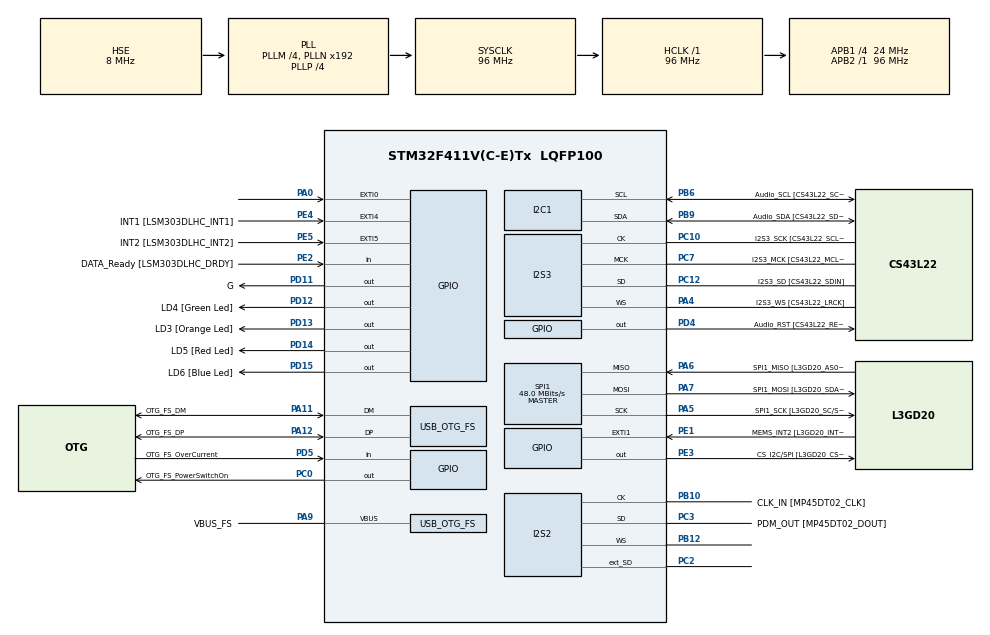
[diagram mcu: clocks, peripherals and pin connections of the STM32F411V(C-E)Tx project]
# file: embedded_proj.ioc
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I2S2.AudioFreq=I2S_AUDIOFREQ_96K
I2S2.ErrorAudioFreq=0.15 %
I2S2.FullDuplexMode=I2S_FULLDUPLEXMODE_ENABLE
I2S2.Instance=SPI$Index
I2S2.RealAudioFreq=96.153 KHz
I2S2.VirtualMode=I2S_MODE_MASTER
I2S3.AudioFreq=I2S_AUDIOFREQ_96K
I2S3.ErrorAudioFreq=-6.99 %
I2S3.FullDuplexMode=I2S_FULLDUPLEXMODE_DISABLE
I2S3.Instance=SPI$Index
I2S3.RealAudioFreq=89.285 KHz
I2S3.VirtualMode=I2S_MODE_MASTER
Mcu.Family=STM32F4
Mcu.Name=STM32F411V(C-E)Tx
Mcu.Package=LQFP100
NVIC.OTG_FS_IRQn=true\:0\:0\:false\:false\:true\:true\:true\:true
NVIC.PriorityGroup=NVIC_PRIORITYGROUP_0
PA0-WKUP.GPIO_ModeDefaultEXTI=GPIO_MODE_EVT_RISING
PA0-WKUP.Signal=GPXTI0
PA10.GPIO_Label=OTG_FS_ID
PA10.Signal=USB_OTG_FS_ID
PA11.GPIO_Label=OTG_FS_DM
PA11.Mode=Host_Only
PA11.Signal=USB_OTG_FS_DM
PA12.GPIO_Label=OTG_FS_DP
PA12.Mode=Host_Only
PA12.Signal=USB_OTG_FS_DP
PA13.GPIO_Label=SWDIO
PA13.Mode=Serial_Wire
PA13.Signal=SYS_JTMS-SWDIO
PA14.GPIO_Label=SWCLK
PA14.Mode=Serial_Wire
PA14.Signal=SYS_JTCK-SWCLK
PA4.GPIO_Label=I2S3_WS [CS43L22_LRCK]
PA4.GPIO_Mode=GPIO_MODE_AF_PP
PA4.GPIO_PuPd=GPIO_NOPULL
PA4.GPIO_Speed=GPIO_SPEED_FREQ_LOW
PA4.Mode=Half_Duplex_Master
PA4.Signal=I2S3_WS
PA5.GPIO_Label=SPI1_SCK [L3GD20_SC/SPC]
PA5.Mode=Full_Duplex_Master
PA5.Signal=SPI1_SCK
PA6.GPIO_Label=SPI1_MISO [L3GD20_AS0/SDO]
PA6.Mode=Full_Duplex_Master
PA6.Signal=SPI1_MISO
PA7.GPIO_Label=SPI1_MOSI [L3GD20_SDA/SDI/SDO]
PA7.Mode=Full_Duplex_Master
PA7.Signal=SPI1_MOSI
PA9.GPIO_Label=VBUS_FS
PA9.Mode=Activate_VBUS
PA9.Signal=USB_OTG_FS_VBUS
PB10.GPIO_Label=CLK_IN [MP45DT02_CLK]
PB10.Mode=Full_Duplex_Master
PB10.Signal=I2S2_CK
PB12.Mode=Full_Duplex_Master
PB12.Signal=I2S2_WS
PB3.GPIO_Label=SWO
PB3.Signal=SYS_JTDO-SWO
PB6.GPIO_Label=Audio_SCL [CS43L22_SCL]
PB6.GPIO_Mode=GPIO_MODE_AF_OD
PB6.GPIO_Pu=GPIO_PULLUP
PB6.GPIO_PuPd=GPIO_NOPULL
PB6.GPIO_Speed=GPIO_SPEED_FREQ_LOW
PB6.Mode=I2C
PB6.Signal=I2C1_SCL
PB9.GPIO_Label=Audio_SDA [CS43L22_SDA]
PB9.GPIO_Mode=GPIO_MODE_AF_OD
PB9.GPIO_Pu=GPIO_PULLUP
PB9.GPIO_PuPd=GPIO_NOPULL
PB9.GPIO_Speed=GPIO_SPEED_FREQ_LOW
PB9.Mode=I2C
PB9.Signal=I2C1_SDA
PC0.GPIO_Label=OTG_FS_PowerSwitchOn
PC0.PinState=GPIO_PIN_SET
PC0.Signal=GPIO_Output
PC10.GPIO_Label=I2S3_SCK [CS43L22_SCLK]
PC10.GPIO_Mode=GPIO_MODE_AF_PP
PC10.GPIO_PuPd=GPIO_NOPULL
PC10.GPIO_Speed=GPIO_SPEED_FREQ_LOW
PC10.Mode=Half_Duplex_Master
PC10.Signal=I2S3_CK
PC12.GPIO_Label=I2S3_SD [CS43L22_SDIN]
PC12.GPIO_Mode=GPIO_MODE_AF_PP
PC12.GPIO_PuPd=GPIO_NOPULL
PC12.GPIO_Speed=GPIO_SPEED_FREQ_LOW
PC12.Mode=Half_Duplex_Master
PC12.Signal=I2S3_SD
PC14-OSC32_IN.GPIO_Label=PC14-OSC32_IN
PC14-OSC32_IN.Mode=LSE-External-Oscillator
PC14-OSC32_IN.Signal=RCC_OSC32_IN
PC15-OSC32_OUT.GPIO_Label=PC15-OSC32_OUT
PC15-OSC32_OUT.Mode=LSE-External-Oscillator
PC15-OSC32_OUT.Signal=RCC_OSC32_OUT
PC2.Mode=Full_Duplex_Master
PC2.Signal=I2S2_ext_SD
PC3.GPIO_Label=PDM_OUT [MP45DT02_DOUT]
PC3.Mode=Full_Duplex_Master
PC3.Signal=I2S2_SD
PC7.GPIO_Label=I2S3_MCK [CS43L22_MCLK]
PC7.GPIO_Mode=GPIO_MODE_AF_PP
PC7.GPIO_PuPd=GPIO_NOPULL
PC7.GPIO_Speed=GPIO_SPEED_FREQ_LOW
PC7.Mode=Master_Clock_Activated
PC7.Signal=I2S3_MCK
PD11.GPIO_Label=G
PD11.Signal=GPIO_Output
PD12.GPIO_Label=LD4 [Green Led]
PD12.GPIO_PuPd=GPIO_NOPULL
PD12.GPIO_Speed=GPIO_SPEED_FREQ_LOW
PD12.Signal=GPIO_Output
PD13.GPIO_Label=LD3 [Orange Led]
PD13.GPIO_PuPd=GPIO_NOPULL
PD13.GPIO_Speed=GPIO_SPEED_FREQ_LOW
PD13.Signal=GPIO_Output
PD14.GPIO_Label=LD5 [Red Led]
PD14.GPIO_PuPd=GPIO_NOPULL
PD14.GPIO_Speed=GPIO_SPEED_FREQ_LOW
PD14.Signal=GPIO_Output
PD15.GPIO_Label=LD6 [Blue Led]
PD15.GPIO_PuPd=GPIO_NOPULL
PD15.GPIO_Speed=GPIO_SPEED_FREQ_LOW
PD15.Signal=GPIO_Output
PD4.GPIO_Label=Audio_RST [CS43L22_RESET]
PD4.Signal=GPIO_Output
PD5.GPIO_Label=OTG_FS_OverCurrent
PD5.Signal=GPIO_Input
PE1.GPIO_Label=MEMS_INT2 [L3GD20_INT2]
PE1.GPIO_ModeDefaultEXTI=GPIO_MODE_EVT_RISING
PE1.Signal=GPXTI1
PE2.GPIO_Label=DATA_Ready [LSM303DLHC_DRDY]
PE2.Signal=GPIO_Input
PE3.GPIO_Label=CS_I2C/SPI [L3GD20_CS_I2C/SPI]
PE3.Signal=GPIO_Output
PE4.GPIO_Label=INT1 [LSM303DLHC_INT1]
PE4.GPIO_ModeDefaultEXTI=GPIO_MODE_EVT_RISING
PE4.Signal=GPXTI4
PE5.GPIO_Label=INT2 [LSM303DLHC_INT2]
PE5.GPIO_ModeDefaultEXTI=GPIO_MODE_EVT_RISING
PE5.Signal=GPXTI5
PH0\ -\ OSC_IN.GPIO_Label=PH0-OSC_IN
PH0\ -\ OSC_IN.Mode=HSE-External-Clock-Source
PH0\ -\ OSC_IN.Signal=RCC_OSC_IN
PH1\ -\ OSC_OUT.GPIO_Label=PH1-OSC_OUT
PH1\ -\ OSC_OUT.Mode=HSE-External-Clock-Source
PH1\ -\ OSC_OUT.Signal=RCC_OSC_OUT
ProjectManager.HeapSize=0x200
ProjectManager.StackSize=0x400
ProjectManager.TargetToolchain=STM32CubeIDE
RCC.48MHZClocksFreq_Value=48000000
RCC.AHBFreq_Value=96000000
RCC.APB1CLKDivider=RCC_HCLK_DIV4
RCC.APB1Freq_Value=24000000
RCC.APB1TimFreq_Value=48000000
RCC.APB2Freq_Value=96000000
RCC.APB2TimFreq_Value=96000000
RCC.CortexFreq_Value=96000000
RCC.HCLKFreq_Value=96000000
RCC.HSE_VALUE=8000000
RCC.HSI_VALUE=16000000
RCC.PLLI2SM=5
RCC.PLLI2SN=200
RCC.PLLM=4
RCC.PLLP=RCC_PLLP_DIV4
RCC.PLLQ=8
RCC.SYSCLKFreq_VALUE=96000000
RCC.SYSCLKSource=RCC_SYSCLKSOURCE_PLLCLK
RCC.VCOOutputFreq_Value=384000000
SPI1.BaudRatePrescaler=SPI_BAUDRATEPRESCALER_2
SPI1.CalculateBaudRate=48.0 MBits/s
SPI1.Direction=SPI_DIRECTION_2LINES
SPI1.Mode=SPI_MODE_MASTER
SPI1.VirtualType=VM_MASTER
USB_HOST.BSP.number=1
USB_HOST.USBH_HandleTypeDef=hUsbHostFS
USB_HOST.VirtualModeFS=Cdc
USB_HOST0.BSP.STBoard=false
USB_HOST0.BSP.api=Unknown
USB_HOST0.BSP.instance=PC0
USB_HOST0.BSP.ip=GPIO
USB_HOST0.BSP.mode=Output
USB_HOST0.BSP.name=Drive_VBUS_FS
USB_HOST0.BSP.solution=PC0
USB_OTG_FS.VirtualMode=Host_Only
USB_OTG_FS.phy_itface=HCD_PHY_EMBEDDED
VP_USB_HOST_VS_USB_HOST_CDC_FS.Mode=CDC_FS
board=STM32F411E-DISCO

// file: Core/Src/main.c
/* USER CODE BEGIN Header */
/**
 ******************************************************************************
 * @file           : main.c
 * @brief          : Main program body
 ******************************************************************************
 * @attention
 *
 * Copyright (c) 2022 STMicroelectronics.
 * All rights reserved.
 *
 * This software is licensed under terms that can be found in the LICENSE file
 * in the root directory of this software component.
 * If no LICENSE file comes with this software, it is provided AS-IS.
 *
 ******************************************************************************
 */
/* USER CODE END Header */
#include "main.h"
#include "usb_host.h"

I2C_HandleTypeDef hi2c1;

I2S_HandleTypeDef hi2s2;
I2S_HandleTypeDef hi2s3;

SPI_HandleTypeDef hspi1;

void SystemClock_Config(void);
void PeriphCommonClock_Config(void);
static void MX_GPIO_Init(void);
static void MX_I2C1_Init(void);
static void MX_I2S2_Init(void);
static void MX_I2S3_Init(void);
static void MX_SPI1_Init(void);
void MX_USB_HOST_Process(void);

/* USER CODE BEGIN 0 */

double x_position=0;
double y_position=0;
double z_position=0;
double magnitude=0;
double change_in_magnitude=0;
double last_magnitude = 0;
int steps_counter=-1;
int pedometer_threshold=1000;
int16_t accelVals[3];

/* USER CODE END 0 */

int main(void)
{

  /* MCU Configuration--------------------------------------------------------*/

  /* Reset of all peripherals, Initializes the Flash interface and the Systick. */
  HAL_Init();

  /* Configure the system clock */
//  SystemClock_Config();

/* Configure the peripherals common clocks */
  PeriphCommonClock_Config();

  /* Initialize all configured peripherals */
  MX_GPIO_Init();
  MX_I2C1_Init();
  MX_I2S2_Init();
  MX_I2S3_Init();
  MX_SPI1_Init();
  MX_USB_HOST_Init();
  /* USER CODE BEGIN 2 */

  /* Read Acceleration*/
        BSP_ACCELERO_GetXYZ(Buffer);

        /* Set X and Y positions */
        X_Offset = Buffer[0];
        Y_Offset = Buffer[1];

        /* Update New autoreload value in case of X or Y acceleration*/
        /* Basic acceleration X_Offset and Y_Offset are divide by 40 to fir with ARR range */
        NewARR_X = TIM_ARR - ABS(X_Offset/40);
        NewARR_Y = TIM_ARR - ABS(Y_Offset/40);

        /* Calculation of Max acceleration detected on X or Y axis */
        Temp_X = ABS(X_Offset/40);
        Temp_Y = ABS(Y_Offset/40);
        MaxAcceleration = MAX_AB(Temp_X, Temp_Y);

        if(MaxAcceleration != 0)
        {

          /* Reset CNT to a lowest value (equal to min CCRx of all Channels) */
          __HAL_TIM_SET_COUNTER(&htim4,(TIM_ARR-MaxAcceleration)/2);

          if (X_Offset < ThreadholdAcceleroLow)
          {

            /* Sets the TIM4 Capture Compare for Channel1 Register value */
            /* Equal to NewARR_X/2 to have duty cycle equal to 50% */
            __HAL_TIM_SET_COMPARE(&htim4, TIM_CHANNEL_1, NewARR_X/2);

            /* Time base configuration */
            __HAL_TIM_SET_AUTORELOAD(&htim4, NewARR_X);

            /* Enable TIM4 Capture Compare Channel1 */
            HAL_TIM_PWM_Start(&htim4, TIM_CHANNEL_1);

          }
          else if (X_Offset > ThreadholdAcceleroHigh)
          {

            /* Sets the TIM4 Capture Compare for Channel3 Register value */
            /* Equal to NewARR_X/2 to have duty cycle equal to 50% */
            __HAL_TIM_SET_COMPARE(&htim4, TIM_CHANNEL_3, NewARR_X/2);

            /* Time base configuration */
            __HAL_TIM_SET_AUTORELOAD(&htim4, NewARR_X);

            /* Enable TIM4 Capture Compare Channel3 */
            HAL_TIM_PWM_Start(&htim4, TIM_CHANNEL_3);

          }
          if (Y_Offset > ThreadholdAcceleroHigh)
          {

            /* Sets the TIM4 Capture Compare for Channel4 Register value */
            /* Equal to NewARR_Y/2 to have duty cycle equal to 50% */
            __HAL_TIM_SET_COMPARE(&htim4, TIM_CHANNEL_4,NewARR_Y/2);

            /* Time base configuration */
            __HAL_TIM_SET_AUTORELOAD(&htim4, NewARR_Y);

            /* Enable TIM4 Capture Compare Channel4 */
            HAL_TIM_PWM_Start(&htim4, TIM_CHANNEL_4);

          }
          else if (Y_Offset < ThreadholdAcceleroLow)
          {

            /* Sets the TIM4 Capture Compare for Channel2 Register value */
            /* Equal to NewARR_Y/2 to have duty cycle equal to 50% */
            __HAL_TIM_SET_COMPARE(&htim4, TIM_CHANNEL_2, NewARR_Y/2);

            /* Time base configuration */
            __HAL_TIM_SET_AUTORELOAD(&htim4, NewARR_Y);

            /* Enable TIM4 Capture Compare Channel2 */
            HAL_TIM_PWM_Start(&htim4, TIM_CHANNEL_2);

          }
        }
        Counter = 0x00;

  /* USER CODE END 2 */

  /* Infinite loop */
	while (1) {
    MX_USB_HOST_Process();

	}
}

void SystemClock_Config(void)
{
  RCC_OscInitTypeDef RCC_OscInitStruct = {0};
  RCC_ClkInitTypeDef RCC_ClkInitStruct = {0};

  /** Configure the main internal regulator output voltage
  */
  __HAL_RCC_PWR_CLK_ENABLE();
  __HAL_PWR_VOLTAGESCALING_CONFIG(PWR_REGULATOR_VOLTAGE_SCALE1);

  /** Initializes the RCC Oscillators according to the specified parameters
  * in the RCC_OscInitTypeDef structure.
  */
  RCC_OscInitStruct.OscillatorType = RCC_OSCILLATORTYPE_HSE;
  RCC_OscInitStruct.HSEState = RCC_HSE_BYPASS;
  RCC_OscInitStruct.PLL.PLLState = RCC_PLL_ON;
  RCC_OscInitStruct.PLL.PLLSource = RCC_PLLSOURCE_HSE;
  RCC_OscInitStruct.PLL.PLLM = 4;
  RCC_OscInitStruct.PLL.PLLN = 192;
  RCC_OscInitStruct.PLL.PLLP = RCC_PLLP_DIV4;
  RCC_OscInitStruct.PLL.PLLQ = 8;
  if (HAL_RCC_OscConfig(&RCC_OscInitStruct) != HAL_OK)
  {
    Error_Handler();
  }

  /** Initializes the CPU, AHB and APB buses clocks
  */
  RCC_ClkInitStruct.ClockType = RCC_CLOCKTYPE_HCLK|RCC_CLOCKTYPE_SYSCLK
                              |RCC_CLOCKTYPE_PCLK1|RCC_CLOCKTYPE_PCLK2;
  RCC_ClkInitStruct.SYSCLKSource = RCC_SYSCLKSOURCE_PLLCLK;
  RCC_ClkInitStruct.AHBCLKDivider = RCC_SYSCLK_DIV1;
  RCC_ClkInitStruct.APB1CLKDivider = RCC_HCLK_DIV4;
  RCC_ClkInitStruct.APB2CLKDivider = RCC_HCLK_DIV1;

  if (HAL_RCC_ClockConfig(&RCC_ClkInitStruct, FLASH_LATENCY_3) != HAL_OK)
  {
    Error_Handler();
  }
}

void PeriphCommonClock_Config(void)
{
  RCC_PeriphCLKInitTypeDef PeriphClkInitStruct = {0};

  /** Initializes the peripherals clock
  */
  PeriphClkInitStruct.PeriphClockSelection = RCC_PERIPHCLK_I2S;
  PeriphClkInitStruct.PLLI2S.PLLI2SN = 200;
  PeriphClkInitStruct.PLLI2S.PLLI2SM = 5;
  PeriphClkInitStruct.PLLI2S.PLLI2SR = 2;
  if (HAL_RCCEx_PeriphCLKConfig(&PeriphClkInitStruct) != HAL_OK)
  {
    Error_Handler();
  }
}

static void MX_I2C1_Init(void)
{

  hi2c1.Instance = I2C1;
  hi2c1.Init.ClockSpeed = 100000;
  hi2c1.Init.DutyCycle = I2C_DUTYCYCLE_2;
  hi2c1.Init.OwnAddress1 = 0;
  hi2c1.Init.AddressingMode = I2C_ADDRESSINGMODE_7BIT;
  hi2c1.Init.DualAddressMode = I2C_DUALADDRESS_DISABLE;
  hi2c1.Init.OwnAddress2 = 0;
  hi2c1.Init.GeneralCallMode = I2C_GENERALCALL_DISABLE;
  hi2c1.Init.NoStretchMode = I2C_NOSTRETCH_DISABLE;
  if (HAL_I2C_Init(&hi2c1) != HAL_OK)
  {
    Error_Handler();
  }

}

static void MX_I2S2_Init(void)
{

  hi2s2.Instance = SPI2;
  hi2s2.Init.Mode = I2S_MODE_MASTER_TX;
  hi2s2.Init.Standard = I2S_STANDARD_PHILIPS;
  hi2s2.Init.DataFormat = I2S_DATAFORMAT_16B;
  hi2s2.Init.MCLKOutput = I2S_MCLKOUTPUT_DISABLE;
  hi2s2.Init.AudioFreq = I2S_AUDIOFREQ_96K;
  hi2s2.Init.CPOL = I2S_CPOL_LOW;
  hi2s2.Init.ClockSource = I2S_CLOCK_PLL;
  hi2s2.Init.FullDuplexMode = I2S_FULLDUPLEXMODE_ENABLE;
  if (HAL_I2S_Init(&hi2s2) != HAL_OK)
  {
    Error_Handler();
  }

}

static void MX_I2S3_Init(void)
{

  hi2s3.Instance = SPI3;
  hi2s3.Init.Mode = I2S_MODE_MASTER_TX;
  hi2s3.Init.Standard = I2S_STANDARD_PHILIPS;
  hi2s3.Init.DataFormat = I2S_DATAFORMAT_16B;
  hi2s3.Init.MCLKOutput = I2S_MCLKOUTPUT_ENABLE;
  hi2s3.Init.AudioFreq = I2S_AUDIOFREQ_96K;
  hi2s3.Init.CPOL = I2S_CPOL_LOW;
  hi2s3.Init.ClockSource = I2S_CLOCK_PLL;
  hi2s3.Init.FullDuplexMode = I2S_FULLDUPLEXMODE_DISABLE;
  if (HAL_I2S_Init(&hi2s3) != HAL_OK)
  {
    Error_Handler();
  }

}

static void MX_SPI1_Init(void)
{

  /* SPI1 parameter configuration*/
  hspi1.Instance = SPI1;
  hspi1.Init.Mode = SPI_MODE_MASTER;
  hspi1.Init.Direction = SPI_DIRECTION_2LINES;
  hspi1.Init.DataSize = SPI_DATASIZE_8BIT;
  hspi1.Init.CLKPolarity = SPI_POLARITY_LOW;
  hspi1.Init.CLKPhase = SPI_PHASE_1EDGE;
  hspi1.Init.NSS = SPI_NSS_SOFT;
  hspi1.Init.BaudRatePrescaler = SPI_BAUDRATEPRESCALER_2;
  hspi1.Init.FirstBit = SPI_FIRSTBIT_MSB;
  hspi1.Init.TIMode = SPI_TIMODE_DISABLE;
  hspi1.Init.CRCCalculation = SPI_CRCCALCULATION_DISABLE;
  hspi1.Init.CRCPolynomial = 10;
  if (HAL_SPI_Init(&hspi1) != HAL_OK)
  {
    Error_Handler();
  }

}

static void MX_GPIO_Init(void)
{
  GPIO_InitTypeDef GPIO_InitStruct = {0};

  /* GPIO Ports Clock Enable */
  __HAL_RCC_GPIOE_CLK_ENABLE();
  __HAL_RCC_GPIOC_CLK_ENABLE();
  __HAL_RCC_GPIOH_CLK_ENABLE();
  __HAL_RCC_GPIOA_CLK_ENABLE();
  __HAL_RCC_GPIOB_CLK_ENABLE();
  __HAL_RCC_GPIOD_CLK_ENABLE();

  /*Configure GPIO pin Output Level */
  HAL_GPIO_WritePin(CS_I2C_SPI_GPIO_Port, CS_I2C_SPI_Pin, GPIO_PIN_RESET);

  /*Configure GPIO pin Output Level */
  HAL_GPIO_WritePin(OTG_FS_PowerSwitchOn_GPIO_Port, OTG_FS_PowerSwitchOn_Pin, GPIO_PIN_SET);

  /*Configure GPIO pin Output Level */
  HAL_GPIO_WritePin(GPIOD, G_Pin|LD4_Pin|LD3_Pin|LD5_Pin
                          |LD6_Pin|Audio_RST_Pin, GPIO_PIN_RESET);

  /*Configure GPIO pin : DATA_Ready_Pin */
  GPIO_InitStruct.Pin = DATA_Ready_Pin;
  GPIO_InitStruct.Mode = GPIO_MODE_INPUT;
  GPIO_InitStruct.Pull = GPIO_NOPULL;
  HAL_GPIO_Init(DATA_Ready_GPIO_Port, &GPIO_InitStruct);

  /*Configure GPIO pin : CS_I2C_SPI_Pin */
  GPIO_InitStruct.Pin = CS_I2C_SPI_Pin;
  GPIO_InitStruct.Mode = GPIO_MODE_OUTPUT_PP;
  GPIO_InitStruct.Pull = GPIO_NOPULL;
  GPIO_InitStruct.Speed = GPIO_SPEED_FREQ_LOW;
  HAL_GPIO_Init(CS_I2C_SPI_GPIO_Port, &GPIO_InitStruct);

  /*Configure GPIO pins : INT1_Pin INT2_Pin MEMS_INT2_Pin */
  GPIO_InitStruct.Pin = INT1_Pin|INT2_Pin|MEMS_INT2_Pin;
  GPIO_InitStruct.Mode = GPIO_MODE_EVT_RISING;
  GPIO_InitStruct.Pull = GPIO_NOPULL;
  HAL_GPIO_Init(GPIOE, &GPIO_InitStruct);

  /*Configure GPIO pin : OTG_FS_PowerSwitchOn_Pin */
  GPIO_InitStruct.Pin = OTG_FS_PowerSwitchOn_Pin;
  GPIO_InitStruct.Mode = GPIO_MODE_OUTPUT_PP;
  GPIO_InitStruct.Pull = GPIO_NOPULL;
  GPIO_InitStruct.Speed = GPIO_SPEED_FREQ_LOW;
  HAL_GPIO_Init(OTG_FS_PowerSwitchOn_GPIO_Port, &GPIO_InitStruct);

  /*Configure GPIO pin : PA0 */
  GPIO_InitStruct.Pin = GPIO_PIN_0;
  GPIO_InitStruct.Mode = GPIO_MODE_EVT_RISING;
  GPIO_InitStruct.Pull = GPIO_NOPULL;
  HAL_GPIO_Init(GPIOA, &GPIO_InitStruct);

  /*Configure GPIO pins : G_Pin LD4_Pin LD3_Pin LD5_Pin
                           LD6_Pin Audio_RST_Pin */
  GPIO_InitStruct.Pin = G_Pin|LD4_Pin|LD3_Pin|LD5_Pin
                          |LD6_Pin|Audio_RST_Pin;
  GPIO_InitStruct.Mode = GPIO_MODE_OUTPUT_PP;
  GPIO_InitStruct.Pull = GPIO_NOPULL;
  GPIO_InitStruct.Speed = GPIO_SPEED_FREQ_LOW;
  HAL_GPIO_Init(GPIOD, &GPIO_InitStruct);

  /*Configure GPIO pin : OTG_FS_OverCurrent_Pin */
  GPIO_InitStruct.Pin = OTG_FS_OverCurrent_Pin;
  GPIO_InitStruct.Mode = GPIO_MODE_INPUT;
  GPIO_InitStruct.Pull = GPIO_NOPULL;
  HAL_GPIO_Init(OTG_FS_OverCurrent_GPIO_Port, &GPIO_InitStruct);

}

void Error_Handler(void)
{
	__disable_irq();
	while (1) {
	}
}
